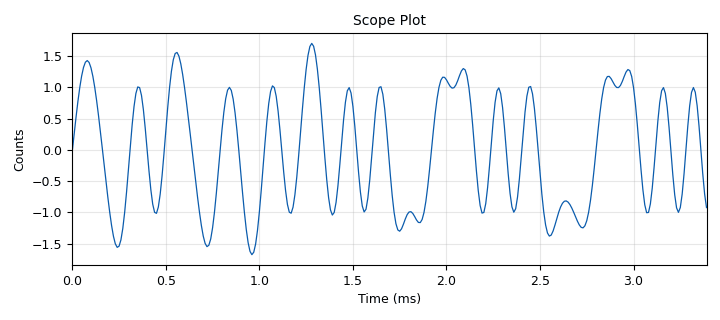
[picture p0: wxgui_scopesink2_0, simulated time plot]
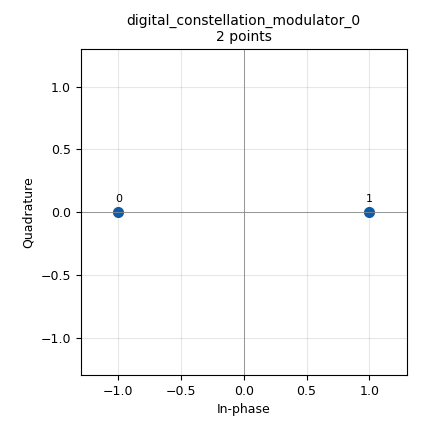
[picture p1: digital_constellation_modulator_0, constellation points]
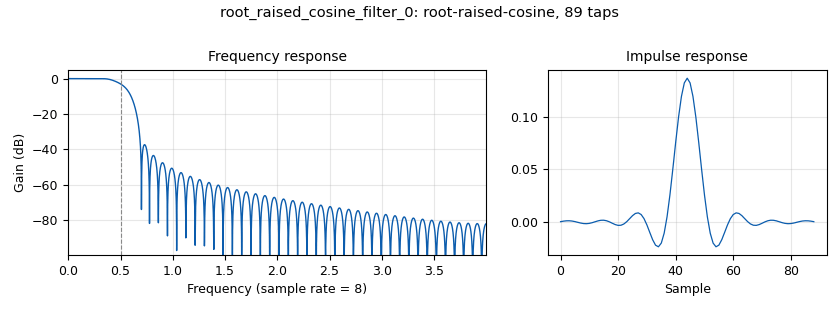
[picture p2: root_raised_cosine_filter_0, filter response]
<?xml version='1.0' encoding='utf-8'?>
<?grc format='1' created='3.7.10'?>
<flow_graph>
<block>
<key>options</key>
<param><key>id</key><value>bpsk_eye_diagram</value></param>
<param><key>author</key><value>Alexandros-Apostolos A. Boulogeorgos</value></param>
<param><key>generate_options</key><value>wx_gui</value></param>
<param><key>title</key><value>BSPK eye diagram</value></param>
</block>
<block>
<key>variable_slider</key>
<param><key>id</key><value>noise_voltage</value></param>
<param><key>converver</key><value>float_converter</value></param>
<param><key>value</key><value>0</value></param>
<param><key>label</key><value>Noise voltage</value></param>
<param><key>max</key><value>100</value></param>
<param><key>min</key><value>0</value></param>
<param><key>num_steps</key><value>1000</value></param>
<param><key>style</key><value>wx.SL_HORIZONTAL</value></param>
</block>
<block>
<key>variable_constellation</key>
<param><key>id</key><value>pam</value></param>
<param><key>const_points</key><value>[-1, 1]</value></param>
<param><key>type</key><value>calcdist</value></param>
<param><key>dims</key><value>1</value></param>
<param><key>rot_sym</key><value>4</value></param>
<param><key>precision</key><value>8</value></param>
<param><key>sym_map</key><value>[0, 1]</value></param>
</block>
<block>
<key>variable</key>
<param><key>id</key><value>samp_rate</value></param>
<param><key>value</key><value>100000</value></param>
</block>
<block>
<key>variable</key>
<param><key>id</key><value>sps</value></param>
<param><key>value</key><value>8</value></param>
</block>
<block>
<key>analog_random_source_x</key>
<param><key>id</key><value>analog_random_source_x_0</value></param>
<param><key>max</key><value>256</value></param>
<param><key>min</key><value>0</value></param>
<param><key>num_samps</key><value>1000</value></param>
<param><key>type</key><value>byte</value></param>
<param><key>repeat</key><value>True</value></param>
</block>
<block>
<key>blocks_complex_to_real</key>
<param><key>id</key><value>blocks_complex_to_real_0</value></param>
</block>
<block>
<key>blocks_throttle</key>
<param><key>id</key><value>blocks_throttle_0</value></param>
<param><key>samples_per_second</key><value>samp_rate</value></param>
<param><key>type</key><value>byte</value></param>
</block>
<block>
<key>channels_channel_model</key>
<param><key>id</key><value>channels_channel_model_0</value></param>
<param><key>epsilon</key><value>1.0</value></param>
<param><key>freq_offset</key><value>0.0</value></param>
<param><key>noise_voltage</key><value>noise_voltage</value></param>
<param><key>seed</key><value>0</value></param>
<param><key>taps</key><value>1.0 </value></param>
</block>
<block>
<key>digital_constellation_modulator</key>
<param><key>id</key><value>digital_constellation_modulator_0</value></param>
<param><key>constellation</key><value>pam</value></param>
<param><key>differential</key><value>False</value></param>
<param><key>excess_bw</key><value>0.35</value></param>
<param><key>samples_per_symbol</key><value>sps</value></param>
</block>
<block>
<key>root_raised_cosine_filter</key>
<param><key>id</key><value>root_raised_cosine_filter_0</value></param>
<param><key>alpha</key><value>0.35</value></param>
<param><key>decim</key><value>1</value></param>
<param><key>type</key><value>fir_filter_ccf</value></param>
<param><key>gain</key><value>1</value></param>
<param><key>ntaps</key><value>88</value></param>
<param><key>samp_rate</key><value>sps</value></param>
<param><key>sym_rate</key><value>1.0</value></param>
</block>
<block>
<key>wxgui_scopesink2</key>
<param><key>id</key><value>wxgui_scopesink2_0</value></param>
<param><key>ac_couple</key><value>False</value></param>
<param><key>num_inputs</key><value>1</value></param>
<param><key>samp_rate</key><value>samp_rate</value></param>
<param><key>t_scale</key><value>0</value></param>
<param><key>title</key><value>Scope Plot</value></param>
<param><key>trig_mode</key><value>wxgui.TRIG_MODE_AUTO</value></param>
<param><key>type</key><value>float</value></param>
<param><key>v_offset</key><value>0</value></param>
<param><key>v_scale</key><value>0</value></param>
<param><key>xy_mode</key><value>False</value></param>
<param><key>y_axis_label</key><value>Counts</value></param>
</block>
<connection><source_block_id>analog_random_source_x_0</source_block_id><sink_block_id>blocks_throttle_0</sink_block_id><source_key>0</source_key><sink_key>0</sink_key></connection>
<connection><source_block_id>blocks_complex_to_real_0</source_block_id><sink_block_id>wxgui_scopesink2_0</sink_block_id><source_key>0</source_key><sink_key>0</sink_key></connection>
<connection><source_block_id>blocks_throttle_0</source_block_id><sink_block_id>digital_constellation_modulator_0</sink_block_id><source_key>0</source_key><sink_key>0</sink_key></connection>
<connection><source_block_id>channels_channel_model_0</source_block_id><sink_block_id>root_raised_cosine_filter_0</sink_block_id><source_key>0</source_key><sink_key>0</sink_key></connection>
<connection><source_block_id>digital_constellation_modulator_0</source_block_id><sink_block_id>channels_channel_model_0</sink_block_id><source_key>0</source_key><sink_key>0</sink_key></connection>
<connection><source_block_id>root_raised_cosine_filter_0</source_block_id><sink_block_id>blocks_complex_to_real_0</sink_block_id><source_key>0</source_key><sink_key>0</sink_key></connection>
</flow_graph>
